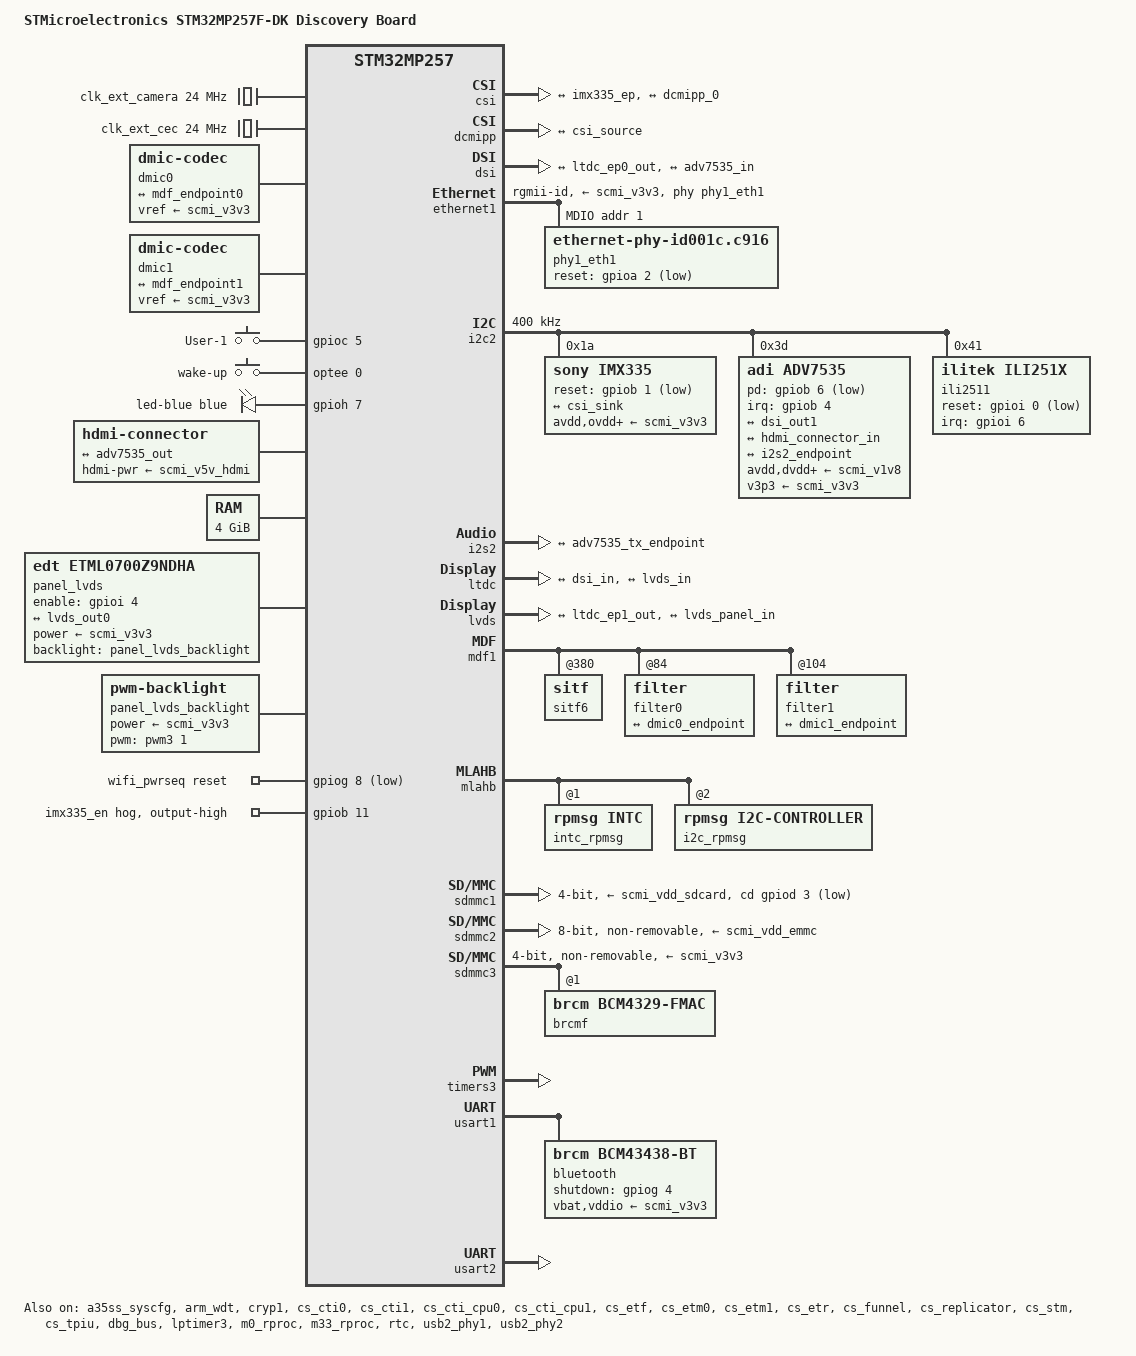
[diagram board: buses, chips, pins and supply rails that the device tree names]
// SPDX-License-Identifier: (GPL-2.0-only OR BSD-3-Clause)
/*
 * Copyright (C) STMicroelectronics 2025 - All Rights Reserved
 * Author: Alexandre Torgue <alexandre.torgue@foss.st.com> for STMicroelectronics.
 */

/dts-v1/;

#include <dt-bindings/gpio/gpio.h>
#include <dt-bindings/input/input.h>
#include <dt-bindings/leds/common.h>
#include <dt-bindings/media/video-interfaces.h>
#include "stm32mp257.dtsi"
#include "stm32mp25xf.dtsi"
#include "stm32mp25-pinctrl.dtsi"
#include "stm32mp25xxak-pinctrl.dtsi"
#include "stm32mp257f-dk-resmem.dtsi"

/ {
	model = "STMicroelectronics STM32MP257F-DK Discovery Board";
	compatible = "st,stm32mp257f-dk", "st,stm32mp257";

	aliases {
		ethernet0 = &ethernet1;
		serial0 = &usart2;
		serial1 = &usart6;
		serial2 = &usart1;
	};

	chosen {
		stdout-path = "serial0:115200n8";
		#address-cells = <2>;
		#size-cells = <2>;
		ranges;

		framebuffer {
			compatible = "simple-framebuffer";
			clocks = <&rcc CK_BUS_LTDC>, <&rcc CK_KER_LTDC>,
				 <&rcc CK_BUS_LVDS>, <&rcc CK_KER_LVDSPHY>,
				 <&rcc CK_KER_TIM3>;
			status = "disabled";
		};
	};

	clock-hog {
		compatible = "st,stm32-hog";
		clocks = <&rcc CK_LPTIM4_AM>;
	};

	clocks {
		clk_ext_camera: clk-ext-camera {
			#clock-cells = <0>;
			compatible = "fixed-clock";
			clock-frequency = <24000000>;
		};

		clk_ext_cec: clk-ext-cec {
			#clock-cells = <0>;
			compatible = "fixed-clock";
			clock-frequency = <24000000>;
		};
	};

	dmic0: dmic-0 {
		compatible = "dmic-codec";
		#sound-dai-cells = <0>;
		sound-name-prefix = "dmic0";
		vref-supply = <&scmi_v3v3>;
		status = "okay";

		port {
			dmic0_endpoint: endpoint {
				remote-endpoint = <&mdf_endpoint0>;
			};
		};
	};

	dmic1: dmic-1 {
		compatible = "dmic-codec";
		#sound-dai-cells = <0>;
		sound-name-prefix = "dmic1";
		vref-supply = <&scmi_v3v3>;
		status = "okay";

		port {
			dmic1_endpoint: endpoint {
				remote-endpoint = <&mdf_endpoint1>;
			};
		};
	};

	gpio-keys {
		compatible = "gpio-keys";

		button-user-1 {
			label = "User-1";
			linux,code = <BTN_1>;
			gpios = <&gpioc 5 GPIO_ACTIVE_HIGH>;
			status = "okay";
		};

		button-user-2 {
			label = "User-2";
			linux,code = <BTN_2>;
			gpios = <&gpioc 11 GPIO_ACTIVE_HIGH>;
			status = "disabled";
		};

		button-wake-up {
			label = "wake-up";
			linux,code = <KEY_WAKEUP>;
			interrupts-extended = <&optee 0>;
			wakeup-source;
			status = "okay";
		};
	};

	gpio-leds {
		compatible = "gpio-leds";

		led-blue {
			function = LED_FUNCTION_HEARTBEAT;
			color = <LED_COLOR_ID_BLUE>;
			gpios = <&gpioh 7 GPIO_ACTIVE_HIGH>;
			linux,default-trigger = "heartbeat";
			default-state = "off";
		};
	};

	hdmi: connector {
		compatible = "hdmi-connector";
		label = "hdmi";
		type = "a";
		hdmi-pwr-supply = <&scmi_v5v_hdmi>;

		port {
			hdmi_connector_in: endpoint {
				remote-endpoint = <&adv7535_out>;
			};
		};
	};

	memory@80000000 {
		device_type = "memory";
		reg = <0x0 0x80000000 0x1 0x0>;
	};

	panel_lvds: panel-lvds {
		compatible = "edt,etml0700z9ndha", "panel-lvds";
		enable-gpios = <&gpioi 4 GPIO_ACTIVE_HIGH>;
		backlight = <&panel_lvds_backlight>;
		power-supply = <&scmi_v3v3>;
		status = "okay";

		width-mm = <156>;
		height-mm = <92>;
		data-mapping = "vesa-24";

		panel-timing {
			clock-frequency = <54000000>;
			hactive = <1024>;
			vactive = <600>;
			hfront-porch = <150>;
			hback-porch = <150>;
			hsync-len = <21>;
			vfront-porch = <24>;
			vback-porch = <24>;
			vsync-len = <21>;
		};

		port {
			lvds_panel_in: endpoint {
				remote-endpoint = <&lvds_out0>;
			};
		};
	};

	panel_lvds_backlight: panel-lvds-backlight {
		compatible = "pwm-backlight";
		pwms = <&pwm3 1 1000000 0>;
		brightness-levels = <0 16 22 30 40 55 75 102 138 188 255>;
		default-brightness-level = <10>;
		power-supply = <&scmi_v3v3>;
		status = "okay";
	};

	sound {
		compatible = "audio-graph-card";
		label = "STM32MP25-DK";
		dais = <&i2s2_port &mdf1_port0 &mdf1_port1>;
		status = "okay";
	};

	wifi_pwrseq: wifi-pwrseq {
		compatible = "mmc-pwrseq-simple";
		reset-gpios = <&gpiog 8 GPIO_ACTIVE_LOW>;
		clocks = <&rtc>;
		clock-names = "ext_clock";
	};
};

&a35ss_syscfg {
	status = "okay";
};

&ahbsr {
	mbox_client: mailbox-client@1 {
		compatible = "mbox-cdev";
		reg = <1 0>;
		memory-region =  <&ipc_shmem_2>;
		mboxes = <&ipcc2 0>;
		mbox-names = "rx-tx";
		status = "okay";
	};
};

&arm_wdt {
	timeout-sec = <32>;
	bootph-all;
	status = "okay";
};

&bsec {
	bootph-all;
};

&cryp1 {
	status = "okay";
};

&cs_cti0 {
	status = "okay";
};

&cs_cti1 {
	status = "okay";
};

&cs_cti_cpu0 {
	status = "okay";
};

&cs_cti_cpu1 {
	status = "okay";
};

&cs_etf {
	status = "okay";
};

&cs_etm0 {
	status = "okay";
};

&cs_etm1 {
	status = "okay";
};

&cs_etr {
	status = "okay";
};

&cs_funnel {
	status = "okay";
};

&cs_replicator {
	status = "okay";
};

&cs_stm {
	status = "okay";
};

&cs_tpiu {
	status = "okay";
};

&csi {
	vdd-supply =  <&scmi_vddcore>;
	vdda18-supply = <&scmi_v1v8>;
	status = "okay";
	ports {
		#address-cells = <1>;
		#size-cells = <0>;
		port@0 {
			reg = <0>;
			csi_sink: endpoint {
				remote-endpoint = <&imx335_ep>;
				data-lanes = <1 2>;
				bus-type = <MEDIA_BUS_TYPE_CSI2_DPHY>;
			};
		};
		port@1 {
			reg = <1>;
			csi_source: endpoint {
				remote-endpoint = <&dcmipp_0>;
			};
		};
	};
};

&dbg_bus {
	status = "okay";
};

&dcmipp {
	status = "okay";
	port {
		dcmipp_0: endpoint {
			remote-endpoint = <&csi_source>;
			bus-type = <MEDIA_BUS_TYPE_CSI2_DPHY>;
		};
	};
};

&dsi {
	vdd-supply =  <&scmi_vddcore>;
	vdda18-supply = <&scmi_v1v8>;
	status = "okay";

	ports {
		#address-cells = <1>;
		#size-cells = <0>;

		port@0 {
			reg = <0>;
			dsi_in: endpoint {
				remote-endpoint = <&ltdc_ep0_out>;
			};
		};

		port@1 {
			reg = <1>;
			dsi_out1: endpoint {
				remote-endpoint = <&adv7535_in>;
			};
		};
	};
};

&ethernet1 {
	pinctrl-0 = <&eth1_rgmii_pins_b>;
	pinctrl-1 = <&eth1_rgmii_sleep_pins_b>;
	pinctrl-names = "default", "sleep";
	phy-handle = <&phy1_eth1>;
	phy-mode = "rgmii-id";
	phy-supply = <&scmi_v3v3>;
	status = "okay";

	mdio {
		#address-cells = <1>;
		#size-cells = <0>;
		compatible = "snps,dwmac-mdio";
		phy1_eth1: ethernet-phy@1 {
			compatible = "ethernet-phy-id001c.c916";
			reg = <1>;
			reset-gpios = <&gpioa 2 GPIO_ACTIVE_LOW>;
			reset-assert-us = <10000>;
			reset-deassert-us = <80000>;
		};
	};
};

&gpioa {
	bootph-all;
};

&gpiob {
	bootph-all;
	/* Enable the IMX335 power line */
	imx335-en-hog {
		gpio-hog;
		gpios = <11 GPIO_ACTIVE_HIGH>;
		output-high;
		line-name = "imx335_en";
	};
};

&gpioc {
	bootph-all;
};

&gpiod {
	bootph-all;
};

&gpioe {
	bootph-all;
};

&gpiof {
	bootph-all;
};

&gpiog {
	bootph-all;
};

&gpioh {
	bootph-all;
};

&gpioi {
	bootph-all;
};

&gpioj {
	bootph-all;
};

&gpiok {
	bootph-all;
};

&gpioz {
	bootph-all;
};

&gpu {
	contiguous-area = <&gpu_reserved>;
};

&hpdma {
	memory-region = <&hpdma1_lli>;
};

&hpdma2 {
	memory-region = <&hpdma2_lli>;
};

&hpdma3 {
	memory-region = <&hpdma3_lli>;
};

&i2c2 {
	pinctrl-names = "default", "sleep";
	pinctrl-0 = <&i2c2_pins_b>;
	pinctrl-1 = <&i2c2_sleep_pins_b>;
	i2c-scl-rising-time-ns = <108>;
	i2c-scl-falling-time-ns = <12>;
	clock-frequency = <400000>;
	status = "okay";
	/* spare dmas for other usage */
	/delete-property/dmas;
	/delete-property/dma-names;

	imx335: camera@1a {
		compatible = "sony,imx335";
		reg = <0x1a>;
		clocks = <&clk_ext_camera>;
		avdd-supply = <&scmi_v3v3>;
		ovdd-supply = <&scmi_v3v3>;
		dvdd-supply = <&scmi_v3v3>;
		reset-gpios = <&gpiob 1 (GPIO_ACTIVE_LOW | GPIO_PUSH_PULL)>;
		status = "okay";

		port {
			imx335_ep: endpoint {
				remote-endpoint = <&csi_sink>;
				clock-lanes = <0>;
				data-lanes = <1 2>;
				link-frequencies = /bits/ 64 <594000000>;
			};
		};
	};

	adv7535: hdmi@3d {
		compatible = "adi,adv7535";
		reg = <0x3d>, <0x3f>, <0x3c>, <0x38>;
		reg-names = "main", "edid", "cec", "packet";
		status = "okay";
		adi,dsi-lanes = <4>;
		clocks = <&clk_ext_cec>;
		clock-names = "cec";
		interrupt-parent = <&gpiob>;
		interrupts = <4 IRQ_TYPE_EDGE_FALLING>;
		pd-gpios = <&gpiob 6 GPIO_ACTIVE_LOW>;
		avdd-supply = <&scmi_v1v8>;
		dvdd-supply = <&scmi_v1v8>;
		pvdd-supply = <&scmi_v1v8>;
		a2vdd-supply = <&scmi_v1v8>;
		v3p3-supply = <&scmi_v3v3>;
		v1p2-supply = <&scmi_v1v8>;

		ports {
			#address-cells = <1>;
			#size-cells = <0>;

			port@0 {
				reg = <0>;
				adv7535_in: endpoint {
					remote-endpoint = <&dsi_out1>;
				};
			};

			port@1 {
				reg = <1>;
				adv7535_out: endpoint {
					remote-endpoint = <&hdmi_connector_in>;
				};
			};

			port@2 {
				reg = <2>;
				adv7535_tx_endpoint: endpoint {
					remote-endpoint = <&i2s2_endpoint>;
				};
			};
		};
	};

	ili2511: ili2511@41 {
		compatible = "ilitek,ili251x";
		reg = <0x41>;
		interrupt-parent = <&gpioi>;
		interrupts = <6 IRQ_TYPE_EDGE_FALLING>;
		reset-gpios = <&gpioi 0 GPIO_ACTIVE_LOW>;
		status = "okay";
	};
};

&i2c8 {
	pinctrl-names = "default", "sleep";
	pinctrl-0 = <&i2c8_pins_a>;
	pinctrl-1 = <&i2c8_sleep_pins_a>;
	i2c-scl-rising-time-ns = <185>;
	i2c-scl-falling-time-ns = <20>;
	clock-frequency = <100000>;
	status = "disabled";
	/* spare dmas for other usage */
	/delete-property/dmas;
	/delete-property/dma-names;
};

&i2s2 {
	pinctrl-names = "default", "sleep";
	pinctrl-0 = <&i2s2_pins_b>;
	pinctrl-1 = <&i2s2_sleep_pins_b>;
	status = "okay";

	i2s2_port: port {
		i2s2_endpoint: endpoint {
			remote-endpoint = <&adv7535_tx_endpoint>;
			dai-format = "i2s";
			mclk-fs = <256>;
		};
	};
};

&i3c4 {
	pinctrl-names = "default", "init", "sleep";
	pinctrl-0 = <&i3c4_pins_b>;
	pinctrl-1 = <&i3c4_init_pins_b>;
	pinctrl-2 = <&i3c4_sleep_pins_b>;
	status = "disabled";
};

&ipcc1 {
	status = "okay";
};

&ipcc2 {
	status = "okay";
};

/* use LPTIMER with tick broadcast for suspend mode */
&lptimer3 {
	clocks = <&rcc CK_LPTIM3_AM>;
	status = "okay";
	timer {
		status = "okay";
	};
};

&ltdc {
	bootph-some-ram;
	status = "okay";

	port {
		#address-cells = <1>;
		#size-cells = <0>;

		ltdc_ep0_out: endpoint@0 {
			reg = <0>;
			remote-endpoint = <&dsi_in>;
		};

		ltdc_ep1_out: endpoint@1 {
			reg = <1>;
			remote-endpoint = <&lvds_in>;
		};
	};
};

&lvds {
	vdd-supply =  <&scmi_vddcore>;
	vdda18-supply = <&scmi_v1v8>;
	status = "okay";

	ports {
		#address-cells = <1>;
		#size-cells = <0>;

		port@0 {
			reg = <0>;
			lvds_in: endpoint {
				remote-endpoint = <&ltdc_ep1_out>;
			};
		};

		port@1 {
			reg = <1>;
			lvds_out0: endpoint {
				remote-endpoint = <&lvds_panel_in>;
			};
		};
	};
};

&m0_rproc {
	memory-region = <&cm0_cube_fw>, <&cm0_cube_data>;
	clocks = <&rcc CK_CPU3>,
		 <&rcc CK_CPU3_AM>,
		 <&rcc CK_LPUART1_C3>,
		 <&rcc CK_KER_LPUART1>,
		 <&rcc CK_LPUART1_AM>,
		 <&rcc CK_GPIOZ_C3>,
		 <&scmi_clk CK_SCMI_GPIOZ>,
		 <&scmi_clk CK_SCMI_GPIOZ_AM>,
		 <&rcc CK_LPTIM4_C3>,
		 <&rcc CK_KER_LPTIM4>,
		 <&rcc CK_LPTIM4_AM>,
		 <&scmi_clk CK_SCMI_IPCC2>,
		 <&scmi_clk CK_SCMI_IPCC2_AM>;
	status = "okay";
};

&m33_rproc {
	mboxes = <&ipcc1 0x100>, <&ipcc1 0x101>, <&ipcc1 2>;
	mbox-names = "vq0", "vq1", "shutdown";
	memory-region = <&cm33_cube_fw>, <&cm33_cube_data>,
			<&ipc_shmem_1>, <&vdev0vring0>,
			<&vdev0vring1>, <&vdev0buffer>,
			<&cm33_sram2>;
	st,syscfg-nsvtor = <&a35ss_syscfg 0x20a8 0xffffff80>;
	status = "okay";
};

&mdf1 {
	pinctrl-names = "default", "sleep";
	pinctrl-0 = <&mdf_cck0_pins_a>;
	pinctrl-1 = <&mdf_cck0_sleep_pins_a>;
	#clock-cells = <1>;
	clock-output-names = "cck0";
	clock-frequency = <1536000>;
	status = "okay";

	sitf6: sitf@380 {
		pinctrl-names = "default", "sleep";
		pinctrl-0 = <&mdf_sdi6_pins_a>;
		pinctrl-1 = <&mdf_sdi6_sleep_pins_a>;
		st,sitf-mode = "spi";
		clocks = <&mdf1 0>;
		status = "okay";
	};

	filter0: filter@84  {
		#address-cells = <1>;
		#size-cells = <0>;
		st,cic-mode = <4>;
		st,sitf = <&sitf6 0>;
		st,hpf-filter-cutoff-bp = <625>;
		status = "okay";

		channel@0 {
			reg = <0>;
			label = "dmic_u53";
		};

		asoc_pdm0: mdf-dai {
			compatible = "st,stm32mp25-mdf-dai";
			#sound-dai-cells = <0>;
			io-channels = <&filter0 0>;
			power-domains = <&d1_pd>;
			status = "okay";

			mdf1_port0: port {
				mdf_endpoint0: endpoint {
					remote-endpoint = <&dmic0_endpoint>;
				};
			};
		};
	};

	filter1: filter@104  {
		#address-cells = <1>;
		#size-cells = <0>;
		st,cic-mode = <4>;
		st,sitf = <&sitf6 1>;
		st,hpf-filter-cutoff-bp = <625>;
		status = "okay";

		channel@1 {
			reg = <1>;
			label = "dmic_u12";
		};

		asoc_pdm1: mdf-dai {
			compatible = "st,stm32mp25-mdf-dai";
			#sound-dai-cells = <0>;
			io-channels = <&filter1 0>;
			power-domains = <&d1_pd>;
			status = "okay";

			mdf1_port1: port {
				mdf_endpoint1: endpoint {
					remote-endpoint = <&dmic1_endpoint>;
				};
			};
		};
	};
};

&mlahb {
	intc_rpmsg: interrupt-controller@1 {
		compatible = "rpmsg,intc";
		reg = <1 0>;
		#interrupt-cells = <1>;
		interrupt-controller;
	};

	i2c_rpmsg: i2c@2 {
		compatible = "rpmsg,i2c-controller";
		reg = <2 0>;
		rpmsg,dev-id = "rpmsg_i2c";
		#address-cells = <1>;
		#size-cells = <0>;
		status = "okay";
	};
};

&optee {
	bootph-all;
};

&pinctrl {
	bootph-all;
};

&pinctrl_z {
	bootph-all;
};

&psci {
	bootph-all;
};

&rcc {
	bootph-all;
};

&rifsc {
	bootph-all;
};

&rtc {
	#clock-cells = <0>;
	pinctrl-names = "default";
	pinctrl-0 = <&rtc_rsvd_pins_a &rtc_lsco_pins_a>;
	status = "okay";

	rtc_lsco_pins_a: rtc-lsco-0 {
		pins = "out2_rmp";
		function = "lsco";
	};
};

&scmi {
	bootph-all;
};

&scmi_clk {
	bootph-all;
};

&scmi_regu {
	scmi_vddio1: regulator@0 {
		regulator-min-microvolt = <1800000>;
		regulator-max-microvolt = <3300000>;
	};
	scmi_vddcore: regulator@b {
		reg = <VOLTD_SCMI_STPMIC2_BUCK2>;
		regulator-name = "vddcore";
	};
	scmi_v1v8: regulator@e {
		reg = <VOLTD_SCMI_STPMIC2_BUCK5>;
		regulator-name = "v1v8";
	};
	scmi_v3v3: regulator@10 {
		reg = <VOLTD_SCMI_STPMIC2_BUCK7>;
		regulator-name = "v3v3";
	};
	scmi_vdd_emmc: regulator@12 {
		reg = <VOLTD_SCMI_STPMIC2_LDO2>;
		regulator-name = "vdd_emmc";
	};
	scmi_vdd3v3_usb: regulator@14 {
		reg = <VOLTD_SCMI_STPMIC2_LDO4>;
		regulator-name = "vdd3v3_usb";
	};
	scmi_v5v_hdmi: regulator@15 {
		reg = <VOLTD_SCMI_STPMIC2_LDO5>;
		regulator-name = "v5v_hdmi";
	};
	scmi_v5v_vconn: regulator@16 {
		reg = <VOLTD_SCMI_STPMIC2_LDO6>;
		regulator-name = "v5v_vconn";
	};
	scmi_vdd_sdcard: regulator@17 {
		reg = <VOLTD_SCMI_STPMIC2_LDO7>;
		regulator-name = "vdd_sdcard";
	};
};

&scmi_reset {
	bootph-all;
};

&sdmmc1 {
	pinctrl-names = "default", "opendrain", "sleep";
	pinctrl-0 = <&sdmmc1_b4_pins_b>;
	pinctrl-1 = <&sdmmc1_b4_od_pins_b>;
	pinctrl-2 = <&sdmmc1_b4_sleep_pins_a>;
	cd-gpios = <&gpiod 3 (GPIO_ACTIVE_LOW | GPIO_PULL_UP)>;
	disable-wp;
	st,neg-edge;
	bus-width = <4>;
	vmmc-supply = <&scmi_vdd_sdcard>;
	vqmmc-supply = <&scmi_vddio1>;
	sd-uhs-sdr12;
	sd-uhs-sdr25;
	sd-uhs-sdr50;
	sd-uhs-ddr50;
	sd-uhs-sdr104;
	status = "okay";
};

&sdmmc2 {
	pinctrl-names = "default", "opendrain", "sleep";
	pinctrl-0 = <&sdmmc2_b4_pins_a &sdmmc2_d47_pins_a>;
	pinctrl-1 = <&sdmmc2_b4_od_pins_a &sdmmc2_d47_pins_a>;
	pinctrl-2 = <&sdmmc2_b4_sleep_pins_a &sdmmc2_d47_sleep_pins_a>;
	non-removable;
	no-sd;
	no-sdio;
	st,neg-edge;
	bus-width = <8>;
	vmmc-supply = <&scmi_vdd_emmc>;
	vqmmc-supply = <&scmi_vddio2>;
	mmc-ddr-1_8v;
	mmc-hs200-1_8v;
	status = "okay";
};

/* Wifi */
&sdmmc3 {
	pinctrl-names = "default", "opendrain", "sleep";
	pinctrl-0 = <&sdmmc3_b4_pins_a>;
	pinctrl-1 = <&sdmmc3_b4_od_pins_a>;
	pinctrl-2 = <&sdmmc3_b4_sleep_pins_a>;
	non-removable;
	st,neg-edge;
	bus-width = <4>;
	vmmc-supply = <&scmi_v3v3>;
	mmc-pwrseq = <&wifi_pwrseq>;
	cap-power-off-card;
	cap-sdio-irq;
	#address-cells = <1>;
	#size-cells = <0>;
	status = "okay";

	brcmf: wifi@1 {
		reg = <1>;
		compatible = "brcm,bcm4329-fmac";
	};
};

&spi6 {
	pinctrl-names = "default", "sleep";
	pinctrl-0 = <&spi6_pins_a>;
	pinctrl-1 = <&spi6_sleep_pins_a>;
	status = "disabled";
};

&syscfg {
	bootph-all;
};

&timers3 {
	status = "okay";
	pwm3: pwm {
		pinctrl-0 = <&pwm3_ch2_pins_a>;
		pinctrl-1 = <&pwm3_ch2_sleep_pins_a>;
		pinctrl-names = "default", "sleep";
		status = "okay";
	};
};

/* Bluetooth */
&usart1 {
	pinctrl-names = "default", "sleep", "idle";
	pinctrl-0 = <&usart1_pins_a>;
	pinctrl-1 = <&usart1_sleep_pins_a>;
	pinctrl-2 = <&usart1_idle_pins_a>;
	uart-has-rtscts;
	status = "okay";

	bluetooth {
		shutdown-gpios = <&gpiog 4 GPIO_ACTIVE_HIGH>;
		compatible = "brcm,bcm43438-bt";
		clocks = <&rtc>;
		clock-names = "lpo";
		max-speed = <2000000>;
		vbat-supply = <&scmi_v3v3>;
		vddio-supply = <&scmi_v3v3>;
	};
};

&usart2 {
	pinctrl-names = "default", "idle", "sleep";
	pinctrl-0 = <&usart2_pins_a>;
	pinctrl-1 = <&usart2_idle_pins_a>;
	pinctrl-2 = <&usart2_sleep_pins_a>;
	bootph-all;
	/delete-property/dmas;
	/delete-property/dma-names;
	status = "okay";
};

&usart2_pins_a {
	bootph-all;
	pins1 {
		bootph-all;
	};
	pins2 {
		bootph-all;
	};
};

&usart6 {
	pinctrl-names = "default", "idle", "sleep";
	pinctrl-0 = <&usart6_pins_a>;
	pinctrl-1 = <&usart6_idle_pins_a>;
	pinctrl-2 = <&usart6_sleep_pins_a>;
	uart-has-rtscts;
	status = "disabled";
};

&usb2_phy1 {
	vdd33-supply = <&scmi_vdd3v3_usb>;
	status = "okay";
};

&usb2_phy2 {
	vdd33-supply = <&scmi_vdd3v3_usb>;
	status = "okay";
};
